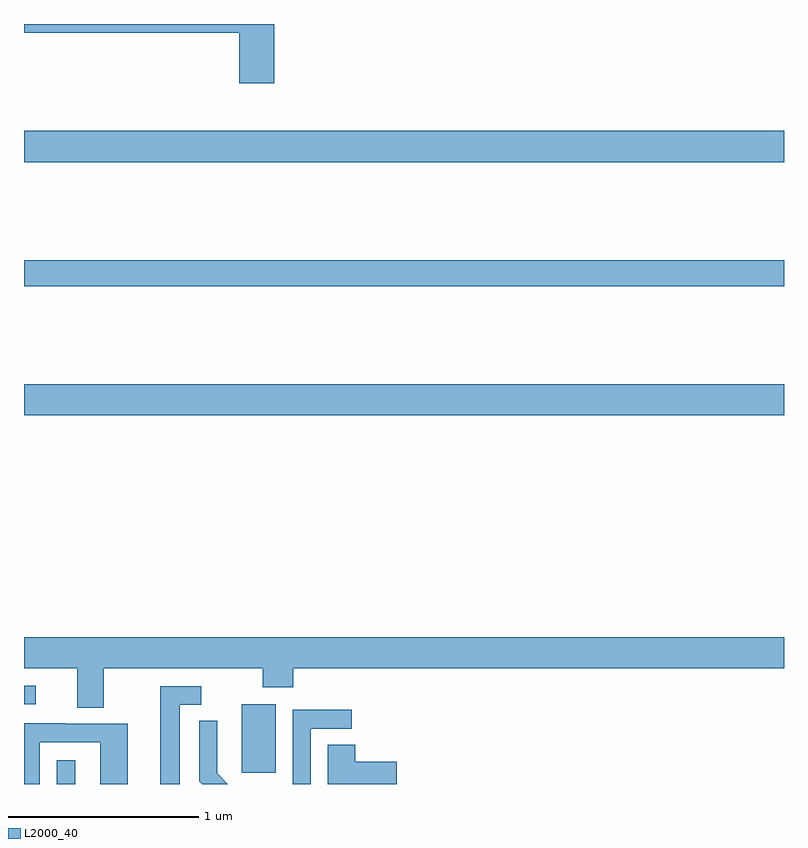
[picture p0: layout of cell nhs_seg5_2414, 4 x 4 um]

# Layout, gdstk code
import gdstk
lib = gdstk.Library(unit=1e-6, precision=1e-09)
def R(c, l, rs):  # rectangles x0, y0, x1, y1
    for r in rs: c.add(gdstk.rectangle(r[:2], r[2:], *l))
def P(c, l, *ps):  # polygons
    for p in ps: c.add(gdstk.Polygon(p, *l))
L2000_40 = (2000, 40)

nhs_seg5_2414 = lib.new_cell('nhs_seg5_2414')
R(nhs_seg5_2414, L2000_40, [(251.172,874.799,251.269,874.924), (252.146,874.857,252.325,875.218), (251,875.22,251.062,875.316), (251,876.74,255,876.904), (251,877.42,255,877.556), (251,878.072,255,878.236)])
P(nhs_seg5_2414, L2000_40, [(252.317,878.799),(251,878.799),(251,878.752),(252.134,878.752),(252.134,878.487),(252.317,878.487)],
  [(251.419,875.408),(252.256,875.408),(252.256,875.309),(252.416,875.309),(252.416,875.408),(255,875.408),(255,875.572),(251,875.572),(251,875.408),(251.279,875.408),(251.279,875.2),(251.419,875.2)],
  [(251.821,875.217),(251.932,875.217),(251.932,875.313),(251.717,875.313),(251.717,874.799),(251.821,874.799)],
  [(252.51,875.091),(252.724,875.091),(252.724,875.19),(252.414,875.19),(252.414,874.799),(252.51,874.799)],
  [(252.017,874.856),(252.017,874.978),(252.018,874.978),(252.018,875.132),(251.922,875.132),(251.922,874.814),(251.937,874.799),(252.073,874.799)],
  [(251.082,875.019),(251.4,875.019),(251.4,874.799),(251.545,874.799),(251.545,875.115),(251.221,875.115),(251.221,875.119),(251,875.119),(251,874.799),(251.082,874.799)],
  [(252.961,874.916),(252.743,874.916),(252.743,875.006),(252.599,875.006),(252.599,874.799),(252.961,874.799)])

lib.write_gds('nhs_seg5_2414.gds')
